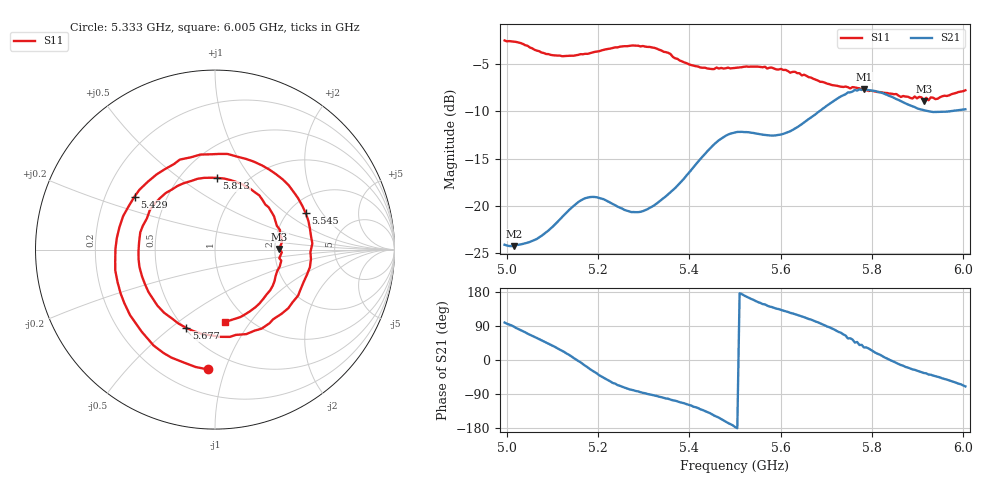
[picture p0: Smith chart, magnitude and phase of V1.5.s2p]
!File created by NanoVNA
# Hz S RI R 50
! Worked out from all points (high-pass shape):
!   201 points, 4.995 GHz to 6.005 GHz, reference 50 ohm
!   highest |S21| = -7.64 dB at 5.783 GHz (marker M1); lowest = -24.3 dB at 5.015 GHz (marker M2)
!   |S21| within 3 dB of the highest: 5.667 GHz to end of sweep
!   lowest |S11| = -8.9 dB at 5.914 GHz (marker M3), VSWR 2.12, Z = 106 + j1.03 ohm
!   |S11| at or under -10 dB: nowhere
!   S12 and S22 are empty: the file has one direction only
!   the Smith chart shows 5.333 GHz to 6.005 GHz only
!   S11 on the Smith chart (normalised r, x): 5.333 GHz: 0.36, -0.87; 5.429 GHz: 0.33, +0.27; 5.545 GHz: 2.46, +1.42; 5.677 GHz: 0.51, -0.57; 5.813 GHz: 0.74, +0.70; 6.005 GHz: 0.79, -0.77
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4.995e9  0.2335 -0.7108  -0.00951 0.0616  0 0  0 0
5.0152e9  -0.0719 -0.7334  0.00195 0.0613  0 0  0 0
5.08085e9  -0.6399 -0.0527  0.0466 0.0535  0 0  0 0
5.1263e9  -0.3811 0.4876  0.0842 0.032  0 0  0 0
5.1667e9  0.0968 0.6251  0.1065 -0.0205  0 0  0 0
5.21215e9  0.5563 0.3687  0.0745 -0.0789  0 0  0 0
5.25255e9  0.6906 -0.0805  0.0322 -0.0913  0 0  0 0
5.2879e9  0.5217 -0.4693  0.0114 -0.092  0 0  0 0
5.33335e9  -0.0402 -0.6676  -0.0124 -0.1045  0 0  0 0
5.3788e9  -0.5057 -0.2969  -0.048 -0.1226  0 0  0 0
5.4293e9  -0.4482 0.2958  -0.1224 -0.1356  0 0  0 0
5.5e9  0.2157 0.4904  -0.2439 -0.0139  0 0  0 0
5.54545e9  0.5055 0.2025  -0.22 0.0999  0 0  0 0
5.601e9  0.463 -0.2563  -0.1599 0.177  0 0  0 0
5.6717e9  -0.1217 -0.4535  -0.0723 0.2908  0 0  0 0
5.67675e9  -0.1596 -0.4363  -0.0606 0.299  0 0  0 0
5.72725e9  -0.4259 -0.054  0.1026 0.3584  0 0  0 0
5.7828e9  -0.2072 0.3555  0.3483 0.2259  0 0  0 0
5.8131e9  0.0115 0.3994  0.3852 0.1112  0 0  0 0
5.83835e9  0.1687 0.3539  0.3808 0.00508  0 0  0 0
5.9141e9  0.3587 0.00426  0.2643 -0.1808  0 0  0 0
6.005e9  0.0575 -0.404  0.1123 -0.304  0 0  0 0
